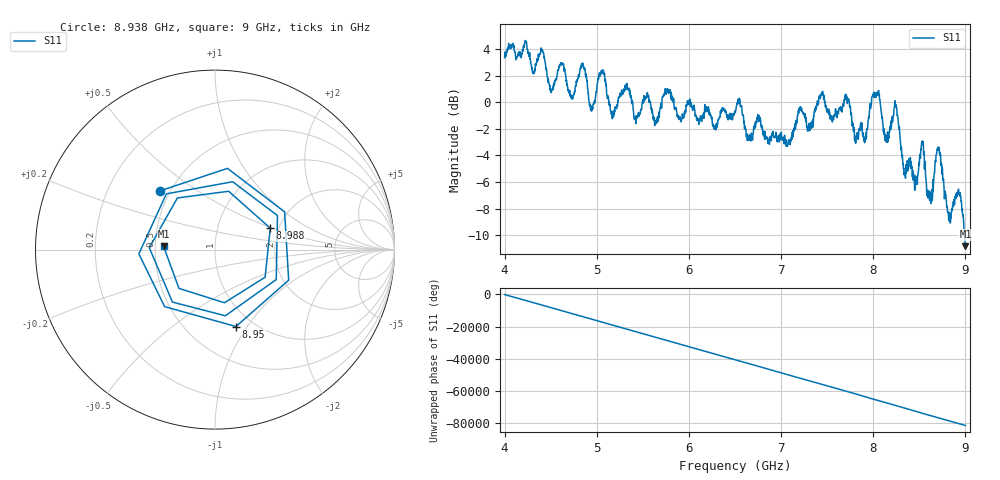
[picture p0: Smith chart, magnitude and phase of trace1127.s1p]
! Created with skrf 1.8.0 (http://scikit-rf.org).
# Hz S RI R 50.0
!freq ReS11 ImS11
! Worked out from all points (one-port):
!   1601 points, 4 GHz to 9 GHz, reference 50 ohm
!   lowest |S11| = -10.8 dB at 9 GHz (marker M1), VSWR 1.81, Z = 27.7 + j1.08 ohm
!   |S11| at or under -10 dB: 8.991419 GHz to end of sweep
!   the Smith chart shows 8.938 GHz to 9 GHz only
!   S11 on the Smith chart (normalised r, x): 8.938 GHz: 0.44, +0.36; 8.95 GHz: 0.83, -0.89; 8.988 GHz: 1.81, +0.48; 9 GHz: 0.55, +0.02
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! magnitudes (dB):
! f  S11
! 4 GHz  3.4
! 4.406 GHz  4.0
! 4.509 GHz  0.8
! 4.625 GHz  2.8
! 4.728 GHz  0.3
! 4.85 GHz  2.9
! 4.944 GHz  -0.7
! 5.053 GHz  2.2
! 5.162 GHz  -0.7
! 5.25 GHz  0.6
! 5.875 GHz  -1.0
! 6.5 GHz  -0.7
! 7.125 GHz  -2.6
! 7.434 GHz  0.6
! 7.75 GHz  -0.3
! 7.909 GHz  -2.8
! 8.041 GHz  0.5
! 8.144 GHz  -3.0
! 8.244 GHz  -0.1
! 8.375 GHz  -5.2
! 8.528 GHz  -3.0
! 8.619 GHz  -7.0
! 8.706 GHz  -3.6
! 8.822 GHz  -8.6
! 8.938 GHz  -7.0
! 8.95 GHz  -7.0
! 8.988 GHz  -9.6
! 9 GHz  -10.8
